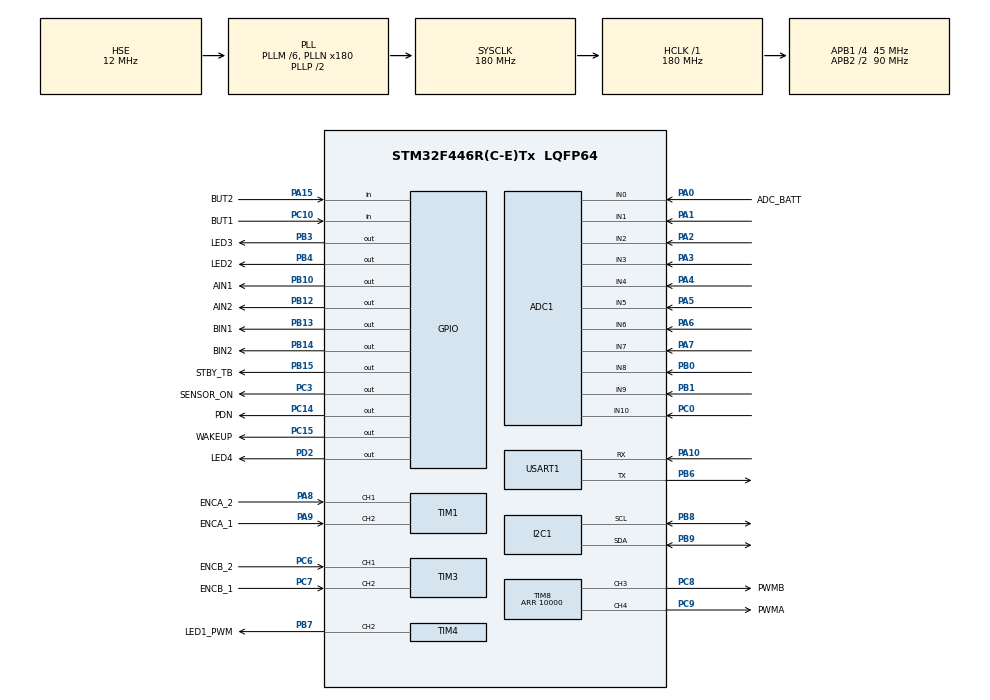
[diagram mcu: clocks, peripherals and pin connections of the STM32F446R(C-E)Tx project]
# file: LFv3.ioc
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ADC1.Channel-0\#ChannelRegularConversion=ADC_CHANNEL_0
ADC1.Channel-1\#ChannelRegularConversion=ADC_CHANNEL_1
ADC1.Channel-10\#ChannelRegularConversion=ADC_CHANNEL_10
ADC1.Channel-2\#ChannelRegularConversion=ADC_CHANNEL_2
ADC1.Channel-3\#ChannelRegularConversion=ADC_CHANNEL_3
ADC1.Channel-4\#ChannelRegularConversion=ADC_CHANNEL_4
ADC1.Channel-5\#ChannelRegularConversion=ADC_CHANNEL_5
ADC1.Channel-6\#ChannelRegularConversion=ADC_CHANNEL_6
ADC1.Channel-7\#ChannelRegularConversion=ADC_CHANNEL_7
ADC1.Channel-8\#ChannelRegularConversion=ADC_CHANNEL_8
ADC1.Channel-9\#ChannelRegularConversion=ADC_CHANNEL_9
ADC1.ContinuousConvMode=ENABLE
ADC1.DMAContinuousRequests=ENABLE
ADC1.EOCSelection=ADC_EOC_SEQ_CONV
ADC1.NbrOfConversion=11
ADC1.NbrOfConversionFlag=1
ADC1.Rank-0\#ChannelRegularConversion=1
ADC1.Rank-1\#ChannelRegularConversion=2
ADC1.Rank-10\#ChannelRegularConversion=11
ADC1.Rank-2\#ChannelRegularConversion=3
ADC1.Rank-3\#ChannelRegularConversion=4
ADC1.Rank-4\#ChannelRegularConversion=5
ADC1.Rank-5\#ChannelRegularConversion=6
ADC1.Rank-6\#ChannelRegularConversion=7
ADC1.Rank-7\#ChannelRegularConversion=8
ADC1.Rank-8\#ChannelRegularConversion=9
ADC1.Rank-9\#ChannelRegularConversion=10
ADC1.SamplingTime-0\#ChannelRegularConversion=ADC_SAMPLETIME_112CYCLES
ADC1.SamplingTime-1\#ChannelRegularConversion=ADC_SAMPLETIME_112CYCLES
ADC1.SamplingTime-10\#ChannelRegularConversion=ADC_SAMPLETIME_112CYCLES
ADC1.SamplingTime-2\#ChannelRegularConversion=ADC_SAMPLETIME_112CYCLES
ADC1.SamplingTime-3\#ChannelRegularConversion=ADC_SAMPLETIME_112CYCLES
ADC1.SamplingTime-4\#ChannelRegularConversion=ADC_SAMPLETIME_112CYCLES
ADC1.SamplingTime-5\#ChannelRegularConversion=ADC_SAMPLETIME_112CYCLES
ADC1.SamplingTime-6\#ChannelRegularConversion=ADC_SAMPLETIME_112CYCLES
ADC1.SamplingTime-7\#ChannelRegularConversion=ADC_SAMPLETIME_112CYCLES
ADC1.SamplingTime-8\#ChannelRegularConversion=ADC_SAMPLETIME_112CYCLES
ADC1.SamplingTime-9\#ChannelRegularConversion=ADC_SAMPLETIME_112CYCLES
ADC1.master=1
Dma.ADC1.0.Direction=DMA_PERIPH_TO_MEMORY
Dma.ADC1.0.FIFOMode=DMA_FIFOMODE_DISABLE
Dma.ADC1.0.Instance=DMA2_Stream0
Dma.ADC1.0.MemDataAlignment=DMA_MDATAALIGN_HALFWORD
Dma.ADC1.0.MemInc=DMA_MINC_ENABLE
Dma.ADC1.0.Mode=DMA_CIRCULAR
Dma.ADC1.0.PeriphDataAlignment=DMA_PDATAALIGN_HALFWORD
Dma.ADC1.0.PeriphInc=DMA_PINC_DISABLE
Dma.ADC1.0.Priority=DMA_PRIORITY_LOW
Dma.Request0=ADC1
I2C1.I2C_Mode=I2C_Fast
Mcu.Family=STM32F4
Mcu.Name=STM32F446R(C-E)Tx
Mcu.Package=LQFP64
NVIC.DMA2_Stream0_IRQn=true\:2\:0\:true\:false\:true\:false\:true\:true
NVIC.PriorityGroup=NVIC_PRIORITYGROUP_4
NVIC.TIM7_IRQn=true\:1\:0\:true\:false\:true\:true\:true\:true
NVIC.TIM8_UP_TIM13_IRQn=true\:0\:0\:false\:false\:true\:true\:true\:true
NVIC.USART1_IRQn=true\:0\:0\:true\:false\:true\:true\:true\:true
PA0-WKUP.GPIO_Label=ADC_BATT
PA0-WKUP.Signal=ADCx_IN0
PA1.Signal=ADCx_IN1
PA10.Mode=Asynchronous
PA10.Signal=USART1_RX
PA13.Mode=Serial_Wire
PA13.Signal=SYS_JTMS-SWDIO
PA14.Mode=Serial_Wire
PA14.Signal=SYS_JTCK-SWCLK
PA15.GPIO_Label=BUT2
PA15.GPIO_PuPd=GPIO_PULLDOWN
PA15.Signal=GPIO_Input
PA2.Signal=ADCx_IN2
PA3.Signal=ADCx_IN3
PA4.Signal=ADCx_IN4
PA5.Signal=ADCx_IN5
PA6.Signal=ADCx_IN6
PA7.Signal=ADCx_IN7
PA8.GPIO_Label=ENCA_2
PA8.Signal=S_TIM1_CH1
PA9.GPIO_Label=ENCA_1
PA9.Signal=S_TIM1_CH2
PB0.Signal=ADCx_IN8
PB1.Signal=ADCx_IN9
PB10.GPIO_Label=AIN1
PB10.Signal=GPIO_Output
PB12.GPIO_Label=AIN2
PB12.Signal=GPIO_Output
PB13.GPIO_Label=BIN1
PB13.Signal=GPIO_Output
PB14.GPIO_Label=BIN2
PB14.Signal=GPIO_Output
PB15.GPIO_Label=STBY_TB
PB15.Signal=GPIO_Output
PB3.GPIO_Label=LED3
PB3.Signal=GPIO_Output
PB4.GPIO_Label=LED2
PB4.Signal=GPIO_Output
PB6.Mode=Asynchronous
PB6.Signal=USART1_TX
PB7.GPIO_Label=LED1_PWM
PB7.Signal=S_TIM4_CH2
PB8.Mode=I2C
PB8.Signal=I2C1_SCL
PB9.Mode=I2C
PB9.Signal=I2C1_SDA
PC0.Signal=ADCx_IN10
PC10.GPIO_Label=BUT1
PC10.GPIO_PuPd=GPIO_PULLDOWN
PC10.Signal=GPIO_Input
PC14-OSC32_IN.GPIO_Label=PDN
PC14-OSC32_IN.Signal=GPIO_Output
PC15-OSC32_OUT.GPIO_Label=WAKEUP
PC15-OSC32_OUT.Signal=GPIO_Output
PC3.GPIO_Label=SENSOR_ON
PC3.Signal=GPIO_Output
PC6.GPIO_Label=ENCB_2
PC6.Signal=S_TIM3_CH1
PC7.GPIO_Label=ENCB_1
PC7.Signal=S_TIM3_CH2
PC8.GPIO_Label=PWMB
PC8.Signal=S_TIM8_CH3
PC9.GPIO_Label=PWMA
PC9.Signal=S_TIM8_CH4
PD2.GPIO_Label=LED4
PD2.Signal=GPIO_Output
PH0-OSC_IN.Mode=HSE-External-Oscillator
PH0-OSC_IN.Signal=RCC_OSC_IN
PH1-OSC_OUT.Mode=HSE-External-Oscillator
PH1-OSC_OUT.Signal=RCC_OSC_OUT
ProjectManager.HeapSize=0x200
ProjectManager.StackSize=0x400
ProjectManager.TargetToolchain=Makefile
RCC.AHBFreq_Value=180000000
RCC.APB1CLKDivider=RCC_HCLK_DIV4
RCC.APB1Freq_Value=45000000
RCC.APB1TimFreq_Value=90000000
RCC.APB2CLKDivider=RCC_HCLK_DIV2
RCC.APB2Freq_Value=90000000
RCC.APB2TimFreq_Value=180000000
RCC.CortexFreq_Value=180000000
RCC.HCLKFreq_Value=180000000
RCC.HSE_VALUE=12000000
RCC.PLLM=6
RCC.PLLN=180
RCC.PLLQ=7
RCC.PLLSourceVirtual=RCC_PLLSOURCE_HSE
RCC.SYSCLKFreq_VALUE=180000000
RCC.SYSCLKSource=RCC_SYSCLKSOURCE_PLLCLK
RCC.USBFreq_Value=51428571.428571425
RCC.VCOOutputFreq_Value=360000000
SH.ADCx_IN0.0=ADC1_IN0,IN0
SH.ADCx_IN1.0=ADC1_IN1,IN1
SH.ADCx_IN10.0=ADC1_IN10,IN10
SH.ADCx_IN2.0=ADC1_IN2,IN2
SH.ADCx_IN3.0=ADC1_IN3,IN3
SH.ADCx_IN4.0=ADC1_IN4,IN4
SH.ADCx_IN5.0=ADC1_IN5,IN5
SH.ADCx_IN6.0=ADC1_IN6,IN6
SH.ADCx_IN7.0=ADC1_IN7,IN7
SH.ADCx_IN8.0=ADC1_IN8,IN8
SH.ADCx_IN9.0=ADC1_IN9,IN9
SH.S_TIM1_CH1.0=TIM1_CH1,Encoder_Interface
SH.S_TIM1_CH2.0=TIM1_CH2,Encoder_Interface
SH.S_TIM3_CH1.0=TIM3_CH1,Encoder_Interface
SH.S_TIM3_CH2.0=TIM3_CH2,Encoder_Interface
SH.S_TIM4_CH2.0=TIM4_CH2,PWM Generation2 CH2
SH.S_TIM8_CH3.0=TIM8_CH3,PWM Generation3 CH3
SH.S_TIM8_CH4.0=TIM8_CH4,PWM Generation4 CH4
TIM1.EncoderMode=TIM_ENCODERMODE_TI12
TIM13.Period=1000
TIM13.Prescaler=45
TIM3.EncoderMode=TIM_ENCODERMODE_TI12
TIM4.Channel-PWM\ Generation2\ CH2=TIM_CHANNEL_2
TIM7.Period=200
TIM7.Prescaler=900-1
TIM8.Channel-PWM\ Generation3\ CH3=TIM_CHANNEL_3
TIM8.Channel-PWM\ Generation4\ CH4=TIM_CHANNEL_4
TIM8.Period=10000
USART1.VirtualMode=VM_ASYNC
VP_TIM13_VS_ClockSourceINT.Mode=Enable_Timer
VP_TIM7_VS_ClockSourceINT.Mode=Enable_Timer
VP_TIM8_VS_ClockSourceINT.Mode=Internal
board=custom

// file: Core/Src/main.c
/* USER CODE BEGIN Header */
/**
  ******************************************************************************
  * @file           : main.c
  * @brief          : Main program body
  ******************************************************************************
  * @attention
  *
  * Copyright (c) 2023 STMicroelectronics.
  * All rights reserved.
  *
  * This software is licensed under terms that can be found in the LICENSE file
  * in the root directory of this software component.
  * If no LICENSE file comes with this software, it is provided AS-IS.
  *
  ******************************************************************************
  */
/* USER CODE END Header */
#include "main.h"

/* USER CODE BEGIN Includes */
#include "memory.h"
#include <stdio.h>
#include "MPU6050.h"
#include "battery.h"
#include "line_sensors.h"
#include "IMU.h"
#include "motors.h"
#include "uart_handler.h"
#include "line_sensors.h"
#include "state_machine_ctrl.h"
#include "lf_control.h"
#include "data_loging.h"
/* USER CODE END Includes */

/* USER CODE BEGIN PD */
#define OPERATION_MODE_NORMAL 0
#define OPERATION_MODE_TEST_STRAIGHT 1
#define OPERATION_MODE_TEST_SPIN 2
#define OPERATION_MODE_TEST_MOTORS 3

#define CONTROL_MODE_PID_LOG_DATA 0
#define CONTROL_MODE_NEURAL_NETWORK 1
#define CONTROL_MODE_NO_CONTROL 2

#define CONTROL_MODE CONTROL_MODE_NEURAL_NETWORK
#define OPERATION_MODE OPERATION_MODE_TEST_MOTORS

#define DISABLE_MAIN_WHILE 0

/* USER CODE END PD */

ADC_HandleTypeDef hadc1;
DMA_HandleTypeDef hdma_adc1;

I2C_HandleTypeDef hi2c1;

TIM_HandleTypeDef htim1;
TIM_HandleTypeDef htim3;
TIM_HandleTypeDef htim4;
TIM_HandleTypeDef htim7;
TIM_HandleTypeDef htim8;
TIM_HandleTypeDef htim13;

UART_HandleTypeDef huart1;

/* USER CODE BEGIN PV */
uint32_t adc_reading= 1000;
uint16_t adc_readings[11];
float adc_reading_float;
uint8_t i2c_reading;
extern uint8_t recieve;
extern uint8_t sensors_enable;
extern int velocity_left_int;
extern int velocity_right_int;
extern int desired_left_velocity;
extern int desired_right_velocity;
extern uint8_t black_detection_table[];
extern float sensors_normalized[];
char uart_buffer[100];
extern RobotMode robot_state;
extern uint8_t robot_auto_follow;
float est_angle = 0;
int enable_main_printing = 0;
LogData log_data;
extern float gyro_calib[3];

#if OPERATION_MODE==OPERATION_MODE_TEST_STRAIGHT || OPERATION_MODE==OPERATION_MODE_TEST_SPIN
  uint16_t test_buffer_left[1000];
  uint16_t test_buffer_right[1000];
  uint8_t enable_data_colllection = 0;
  uint8_t send_data = 0;
#endif
/* USER CODE END PV */

void SystemClock_Config(void);
static void MX_GPIO_Init(void);
static void MX_DMA_Init(void);
static void MX_ADC1_Init(void);
static void MX_TIM1_Init(void);
static void MX_TIM3_Init(void);
static void MX_TIM8_Init(void);
static void MX_USART1_UART_Init(void);
static void MX_I2C1_Init(void);
static void MX_TIM4_Init(void);
static void MX_TIM7_Init(void);
static void MX_TIM13_Init(void);

/* USER CODE BEGIN 0 */

void HAL_TIM_PeriodElapsedCallback(TIM_HandleTypeDef *htim){
  static uint16_t tim13_div_cnt = 0;
  static float x[3];
  static float y[6];
  #if OPERATION_MODE == OPERATION_MODE_TEST_STRAIGHT
  static uint32_t go_straight_test_counter = 0;
  #endif
  #if OPERATION_MODE == OPERATION_MODE_TEST_SPIN
  static uint32_t go_spin_test_counter = 0;
  #endif
  if(htim == &htim7){
    //UpdateIMU();

  }
  else if(htim == &htim13){
    #if OPERATION_MODE == OPERATION_MODE_NORMAL
      VelocityEstimation();
      #if CONTROL_MODE == CONTROL_MODE_PID_LOG_DATA
        LeftMotorPID();
        RightMotorPID();
      #endif
        normalize_sensors();

      if(robot_auto_follow){
        #if CONTROL_MODE == CONTROL_MODE_PID_LOG_DATA
          est_angle = -NN_est_angle(sensors_normalized);
          PIDLineControl();
        #elif CONTROL_MODE == CONTROL_MODE_NEURAL_NETWORK
          est_angle = -NN_est_angle(sensors_normalized);
          x[0] = (float)est_angle;
          x[1] = (float)velocity_left_int;
          x[2] = (float)velocity_right_int;
          NeuralNetworkControl(x,y);
          SetLeftMotorPWM(y[1]);
          SetRightMotorPWM(y[0]);
        #endif
      }
      tim13_div_cnt +=1;
      updateLogData(&log_data);
    #elif OPERATION_MODE == OPERATION_MODE_TEST_STRAIGHT

      if(go_straight_test_counter == 1){
       /*start PWM*/
        SetRightMotorPWM(5000);
        SetLeftMotorPWM(5000);
      }
      else if (go_straight_test_counter == 1000)
      {
        /*stop PWM*/
        SetRightMotorPWM(0);
        SetLeftMotorPWM(0);
        send_data = 1;
      }
      if(go_straight_test_counter < 1000){
        test_buffer_left[go_straight_test_counter] = ENCODER_LEFT;
        test_buffer_right[go_straight_test_counter] = ENCODER_RIGHT;
      }
    go_straight_test_counter +=1;
    AdaptiveVelocityEstimation();
    #elif OPERATION_MODE == OPERATION_MODE_TEST_SPIN

      if(go_spin_test_counter == 1){
       /*start PWM*/
        SetRightMotorPWM(-5000);
        SetLeftMotorPWM(-5000);
      }
      else if (go_spin_test_counter == 1000)
      {
        /*stop PWM*/
        SetRightMotorPWM(0);
        SetLeftMotorPWM(0);
        send_data = 1;
      }
      if(go_spin_test_counter < 1000){
        test_buffer_left[go_spin_test_counter] = ENCODER_LEFT;
        test_buffer_right[go_spin_test_counter] = ENCODER_RIGHT;
      }
      go_spin_test_counter +=1;
      AdaptiveVelocityEstimation();
    #elif OPERATION_MODE == OPERATION_MODE_TEST_MOTORS
      VelocityEstimation();
    #endif
  }
}

/* USER CODE END 0 */

int main(void)
{

  /* MCU Configuration--------------------------------------------------------*/

  /* Reset of all peripherals, Initializes the Flash interface and the Systick. */
  HAL_Init();

  /* Configure the system clock */
  SystemClock_Config();

  /* Initialize all configured peripherals */
  MX_GPIO_Init();
  MX_DMA_Init();
  MX_ADC1_Init();
  MX_TIM1_Init();
  MX_TIM3_Init();
  MX_TIM8_Init();
  MX_USART1_UART_Init();
  MX_I2C1_Init();
  MX_TIM4_Init();
  MX_TIM7_Init();
  MX_TIM13_Init();
  /* USER CODE BEGIN 2 */
  HAL_TIM_PWM_Start(&htim8, TIM_CHANNEL_3);
  HAL_TIM_PWM_Start(&htim8, TIM_CHANNEL_4);
  HAL_TIM_PWM_Start(&htim4, TIM_CHANNEL_2);
  HAL_TIM_Encoder_Start(&htim3,TIM_CHANNEL_ALL);
  HAL_TIM_Encoder_Start(&htim1,TIM_CHANNEL_ALL);
  HAL_ADC_Start_DMA(&hadc1, adc_readings, 11);
  /* USER CODE END 2 */

  /* Infinite loop */
  /* USER CODE BEGIN WHILE */

  HAL_GPIO_WritePin(PDN_GPIO_Port, PDN_Pin, GPIO_PIN_SET);
  HAL_GPIO_WritePin(WAKEUP_GPIO_Port, WAKEUP_Pin, GPIO_PIN_SET);

  HAL_GPIO_WritePin(STBY_TB_GPIO_Port, STBY_TB_Pin, GPIO_PIN_SET);
  HAL_GPIO_WritePin(LED3_GPIO_Port, LED3_Pin, 1);
  log_data.end = 0xDEAD;
  uint8_t read_data;
  uint8_t reading;
  uint8_t uart_buffer[100];
  MPU6050_SETTINGS MPU6050_sett;
  MPU6050_default_setting(&MPU6050_sett);
  MPU6050_sett.ACC_RANGE = MPU6050_ACC_2G;
  MPU6050_sett.GYRO_RANGE = MPU6050_GYRO_1000DPS;
  MPU6050_sett.DLPF = MPU6050_DLPF_5;

  InitEncoders();
  HAL_Delay(30);
  MPU6050_wakeup();
  HAL_Delay(5);
  MPU6050_set_config(&MPU6050_sett);
  HAL_Delay(1);
  update_counter();
  HAL_UART_Receive_IT(&huart1, &recieve, 1);
  TURN_ON_SENSORS();
  HAL_Delay(2000);
  calibrate_gyro();
  HAL_Delay(200);
  HAL_TIM_Base_Start_IT(&htim7);
  /*
    htim13 is controlling test and main control algorithms
  */
  HAL_TIM_Base_Start_IT(&htim13);
  ManageRobotStateMachine(0, 0);
  int disable_counter = 0;
  char dsfsk[3] = "ABC";
  uint8_t uart_debug_buffer[30];
  init_sensors();
  int gyro_r_data[3];
  float gyro_data[3];
  int acc_r_data[3];
  float acc_data[3];
  float est_angle_gyro = 0;
  // desired_left_velocity = 1200;
  // desired_right_velocity = 1200;
  /* USER CODE END 2 */
  /* Infinite loop */
  /* USER CODE BEGIN WHILE */
  while (1)
  {
    #if DISABLE_MAIN_WHILE==0
    HAL_Delay(5);
    battery_monitor();
    if(HAL_GPIO_ReadPin(BUT1_GPIO_Port, BUT1_Pin) && !robot_auto_follow){
      HAL_Delay(500);
      robot_auto_follow = 1;
    }
    if(robot_auto_follow == 1 && (disable_counter > 50000)){
      robot_auto_follow = 0;
      desired_left_velocity = 0;
      desired_right_velocity = 0;
      disable_counter = 0;
    }
    else if(robot_auto_follow == 1){
      disable_counter += 1;
      #if CONTROL_MODE == CONTROL_MODE_PID_LOG_DATA
        HAL_UART_Transmit_IT(&huart1, (uint8_t *)&log_data, 12);
      #endif
    }

    #if CONTROL_MODE == CONTROL_MODE_NO_CONTROL
      int l = sprintf(uart_debug_buffer, "%d %d\n", velocity_left_int, velocity_right_int);
      HAL_UART_Transmit_IT(&huart1, uart_debug_buffer, l);
    #endif
    #if OPERATION_MODE == OPERATION_MODE_TEST_STRAIGHT || OPERATION_MODE == OPERATION_MODE_TEST_SPIN
      if(send_data == 1){
        for(int i =0;i<1000;i++){
          int l = sprintf(uart_buffer, "%d %d\n",test_buffer_left[i], test_buffer_right[i]);
          HAL_UART_Transmit(&huart1, uart_buffer, l, 100);
        }
        send_data = 0;
      }
    #endif
    #else
      if(HAL_GPIO_ReadPin(BUT2_GPIO_Port, BUT2_Pin)){
        HAL_Delay(20);
        UpdateIMU();
        est_angle_gyro += gyro_calib[2] * 0.02f *180.f * 75.f;
        normalize_sensors();
        est_angle = NN_est_angle(sensors_normalized);
        //int l = sprintf(uart_buffer, "%d %d %d %d %d %d %d %d %d %d %d\n", (int)(sensors_normalized[0]*1000), (int)(sensors_normalized[1]*1000),(int)(sensors_normalized[2]*1000),(int)(sensors_normalized[3]*1000),(int)(sensors_normalized[4]*1000),(int)(sensors_normalized[5]*1000),(int)(sensors_normalized[6]*1000),(int)(sensors_normalized[7]*1000),(int)(sensors_normalized[8]*1000),(int)(sensors_normalized[9]*1000), (int)est_angle_gyro*10);
        int l = sprintf(uart_buffer, "%d\n",(int)est_angle);
        HAL_UART_Transmit(&huart1, uart_buffer, l, 100);
      }
    #endif
    #if OPERATION_MODE == OPERATION_MODE_TEST_MOTORS
        int lmotor_pwm = 10000;
        int rmotor_pwm = 10000;
        SetLeftMotorPWM(lmotor_pwm);
        SetRightMotorPWM(rmotor_pwm);
        #define TEST_IT 200
        for(int j = 0; j < TEST_IT;j++){
          lmotor_pwm -= 10000/TEST_IT;
          rmotor_pwm -= 10000/TEST_IT;
          SetLeftMotorPWM(lmotor_pwm);
          SetRightMotorPWM(rmotor_pwm);
          for(int i =0; i <10; i++){
            int l = sprintf(uart_buffer, "%d %d %d\n",(int)velocity_left_int, (int)velocity_right_int, (int)lmotor_pwm);
            HAL_UART_Transmit(&huart1, uart_buffer, l, 100);
            HAL_Delay(20);
            }
          }

    #endif
    /* USER CODE END WHILE */

  }
}

void SystemClock_Config(void)
{
  RCC_OscInitTypeDef RCC_OscInitStruct = {0};
  RCC_ClkInitTypeDef RCC_ClkInitStruct = {0};

  /** Configure the main internal regulator output voltage
  */
  __HAL_RCC_PWR_CLK_ENABLE();
  __HAL_PWR_VOLTAGESCALING_CONFIG(PWR_REGULATOR_VOLTAGE_SCALE1);

  /** Initializes the RCC Oscillators according to the specified parameters
  * in the RCC_OscInitTypeDef structure.
  */
  RCC_OscInitStruct.OscillatorType = RCC_OSCILLATORTYPE_HSE;
  RCC_OscInitStruct.HSEState = RCC_HSE_ON;
  RCC_OscInitStruct.PLL.PLLState = RCC_PLL_ON;
  RCC_OscInitStruct.PLL.PLLSource = RCC_PLLSOURCE_HSE;
  RCC_OscInitStruct.PLL.PLLM = 6;
  RCC_OscInitStruct.PLL.PLLN = 180;
  RCC_OscInitStruct.PLL.PLLP = RCC_PLLP_DIV2;
  RCC_OscInitStruct.PLL.PLLQ = 7;
  RCC_OscInitStruct.PLL.PLLR = 2;
  if (HAL_RCC_OscConfig(&RCC_OscInitStruct) != HAL_OK)
  {
    Error_Handler();
  }

  /** Activate the Over-Drive mode
  */
  if (HAL_PWREx_EnableOverDrive() != HAL_OK)
  {
    Error_Handler();
  }

  /** Initializes the CPU, AHB and APB buses clocks
  */
  RCC_ClkInitStruct.ClockType = RCC_CLOCKTYPE_HCLK|RCC_CLOCKTYPE_SYSCLK
                              |RCC_CLOCKTYPE_PCLK1|RCC_CLOCKTYPE_PCLK2;
  RCC_ClkInitStruct.SYSCLKSource = RCC_SYSCLKSOURCE_PLLCLK;
  RCC_ClkInitStruct.AHBCLKDivider = RCC_SYSCLK_DIV1;
  RCC_ClkInitStruct.APB1CLKDivider = RCC_HCLK_DIV4;
  RCC_ClkInitStruct.APB2CLKDivider = RCC_HCLK_DIV2;

  if (HAL_RCC_ClockConfig(&RCC_ClkInitStruct, FLASH_LATENCY_5) != HAL_OK)
  {
    Error_Handler();
  }
}

static void MX_ADC1_Init(void)
{

  ADC_ChannelConfTypeDef sConfig = {0};

  /** Configure the global features of the ADC (Clock, Resolution, Data Alignment and number of conversion)
  */
  hadc1.Instance = ADC1;
  hadc1.Init.ClockPrescaler = ADC_CLOCK_SYNC_PCLK_DIV4;
  hadc1.Init.Resolution = ADC_RESOLUTION_12B;
  hadc1.Init.ScanConvMode = ENABLE;
  hadc1.Init.ContinuousConvMode = ENABLE;
  hadc1.Init.DiscontinuousConvMode = DISABLE;
  hadc1.Init.ExternalTrigConvEdge = ADC_EXTERNALTRIGCONVEDGE_NONE;
  hadc1.Init.ExternalTrigConv = ADC_SOFTWARE_START;
  hadc1.Init.DataAlign = ADC_DATAALIGN_RIGHT;
  hadc1.Init.NbrOfConversion = 11;
  hadc1.Init.DMAContinuousRequests = ENABLE;
  hadc1.Init.EOCSelection = ADC_EOC_SEQ_CONV;
  if (HAL_ADC_Init(&hadc1) != HAL_OK)
  {
    Error_Handler();
  }

  /** Configure for the selected ADC regular channel its corresponding rank in the sequencer and its sample time.
  */
  sConfig.Channel = ADC_CHANNEL_0;
  sConfig.Rank = 1;
  sConfig.SamplingTime = ADC_SAMPLETIME_112CYCLES;
  if (HAL_ADC_ConfigChannel(&hadc1, &sConfig) != HAL_OK)
  {
    Error_Handler();
  }

  /** Configure for the selected ADC regular channel its corresponding rank in the sequencer and its sample time.
  */
  sConfig.Channel = ADC_CHANNEL_1;
  sConfig.Rank = 2;
  if (HAL_ADC_ConfigChannel(&hadc1, &sConfig) != HAL_OK)
  {
    Error_Handler();
  }

  /** Configure for the selected ADC regular channel its corresponding rank in the sequencer and its sample time.
  */
  sConfig.Channel = ADC_CHANNEL_2;
  sConfig.Rank = 3;
  if (HAL_ADC_ConfigChannel(&hadc1, &sConfig) != HAL_OK)
  {
    Error_Handler();
  }

  /** Configure for the selected ADC regular channel its corresponding rank in the sequencer and its sample time.
  */
  sConfig.Channel = ADC_CHANNEL_3;
  sConfig.Rank = 4;
  if (HAL_ADC_ConfigChannel(&hadc1, &sConfig) != HAL_OK)
  {
    Error_Handler();
  }

  /** Configure for the selected ADC regular channel its corresponding rank in the sequencer and its sample time.
  */
  sConfig.Channel = ADC_CHANNEL_4;
  sConfig.Rank = 5;
  if (HAL_ADC_ConfigChannel(&hadc1, &sConfig) != HAL_OK)
  {
    Error_Handler();
  }

  /** Configure for the selected ADC regular channel its corresponding rank in the sequencer and its sample time.
  */
  sConfig.Channel = ADC_CHANNEL_5;
  sConfig.Rank = 6;
  if (HAL_ADC_ConfigChannel(&hadc1, &sConfig) != HAL_OK)
  {
    Error_Handler();
  }

  /** Configure for the selected ADC regular channel its corresponding rank in the sequencer and its sample time.
  */
  sConfig.Channel = ADC_CHANNEL_6;
  sConfig.Rank = 7;
  if (HAL_ADC_ConfigChannel(&hadc1, &sConfig) != HAL_OK)
  {
    Error_Handler();
  }

  /** Configure for the selected ADC regular channel its corresponding rank in the sequencer and its sample time.
  */
  sConfig.Channel = ADC_CHANNEL_7;
  sConfig.Rank = 8;
  if (HAL_ADC_ConfigChannel(&hadc1, &sConfig) != HAL_OK)
  {
    Error_Handler();
  }

  /** Configure for the selected ADC regular channel its corresponding rank in the sequencer and its sample time.
  */
  sConfig.Channel = ADC_CHANNEL_8;
  sConfig.Rank = 9;
  if (HAL_ADC_ConfigChannel(&hadc1, &sConfig) != HAL_OK)
  {
    Error_Handler();
  }

  /** Configure for the selected ADC regular channel its corresponding rank in the sequencer and its sample time.
  */
  sConfig.Channel = ADC_CHANNEL_9;
  sConfig.Rank = 10;
  if (HAL_ADC_ConfigChannel(&hadc1, &sConfig) != HAL_OK)
  {
    Error_Handler();
  }

  /** Configure for the selected ADC regular channel its corresponding rank in the sequencer and its sample time.
  */
  sConfig.Channel = ADC_CHANNEL_10;
  sConfig.Rank = 11;
  if (HAL_ADC_ConfigChannel(&hadc1, &sConfig) != HAL_OK)
  {
    Error_Handler();
  }

}

static void MX_I2C1_Init(void)
{

  hi2c1.Instance = I2C1;
  hi2c1.Init.ClockSpeed = 400000;
  hi2c1.Init.DutyCycle = I2C_DUTYCYCLE_2;
  hi2c1.Init.OwnAddress1 = 0;
  hi2c1.Init.AddressingMode = I2C_ADDRESSINGMODE_7BIT;
  hi2c1.Init.DualAddressMode = I2C_DUALADDRESS_DISABLE;
  hi2c1.Init.OwnAddress2 = 0;
  hi2c1.Init.GeneralCallMode = I2C_GENERALCALL_DISABLE;
  hi2c1.Init.NoStretchMode = I2C_NOSTRETCH_DISABLE;
  if (HAL_I2C_Init(&hi2c1) != HAL_OK)
  {
    Error_Handler();
  }

}

static void MX_TIM1_Init(void)
{

  TIM_Encoder_InitTypeDef sConfig = {0};
  TIM_MasterConfigTypeDef sMasterConfig = {0};

  htim1.Instance = TIM1;
  htim1.Init.Prescaler = 0;
  htim1.Init.CounterMode = TIM_COUNTERMODE_UP;
  htim1.Init.Period = 65535;
  htim1.Init.ClockDivision = TIM_CLOCKDIVISION_DIV1;
  htim1.Init.RepetitionCounter = 0;
  htim1.Init.AutoReloadPreload = TIM_AUTORELOAD_PRELOAD_DISABLE;
  sConfig.EncoderMode = TIM_ENCODERMODE_TI12;
  sConfig.IC1Polarity = TIM_ICPOLARITY_RISING;
  sConfig.IC1Selection = TIM_ICSELECTION_DIRECTTI;
  sConfig.IC1Prescaler = TIM_ICPSC_DIV1;
  sConfig.IC1Filter = 0;
  sConfig.IC2Polarity = TIM_ICPOLARITY_RISING;
  sConfig.IC2Selection = TIM_ICSELECTION_DIRECTTI;
  sConfig.IC2Prescaler = TIM_ICPSC_DIV1;
  sConfig.IC2Filter = 0;
  if (HAL_TIM_Encoder_Init(&htim1, &sConfig) != HAL_OK)
  {
    Error_Handler();
  }
  sMasterConfig.MasterOutputTrigger = TIM_TRGO_RESET;
  sMasterConfig.MasterSlaveMode = TIM_MASTERSLAVEMODE_DISABLE;
  if (HAL_TIMEx_MasterConfigSynchronization(&htim1, &sMasterConfig) != HAL_OK)
  {
    Error_Handler();
  }

}

static void MX_TIM3_Init(void)
{

  TIM_Encoder_InitTypeDef sConfig = {0};
  TIM_MasterConfigTypeDef sMasterConfig = {0};

  htim3.Instance = TIM3;
  htim3.Init.Prescaler = 0;
  htim3.Init.CounterMode = TIM_COUNTERMODE_UP;
  htim3.Init.Period = 65535;
  htim3.Init.ClockDivision = TIM_CLOCKDIVISION_DIV1;
  htim3.Init.AutoReloadPreload = TIM_AUTORELOAD_PRELOAD_DISABLE;
  sConfig.EncoderMode = TIM_ENCODERMODE_TI12;
  sConfig.IC1Polarity = TIM_ICPOLARITY_RISING;
  sConfig.IC1Selection = TIM_ICSELECTION_DIRECTTI;
  sConfig.IC1Prescaler = TIM_ICPSC_DIV1;
  sConfig.IC1Filter = 0;
  sConfig.IC2Polarity = TIM_ICPOLARITY_RISING;
  sConfig.IC2Selection = TIM_ICSELECTION_DIRECTTI;
  sConfig.IC2Prescaler = TIM_ICPSC_DIV1;
  sConfig.IC2Filter = 0;
  if (HAL_TIM_Encoder_Init(&htim3, &sConfig) != HAL_OK)
  {
    Error_Handler();
  }
  sMasterConfig.MasterOutputTrigger = TIM_TRGO_RESET;
  sMasterConfig.MasterSlaveMode = TIM_MASTERSLAVEMODE_DISABLE;
  if (HAL_TIMEx_MasterConfigSynchronization(&htim3, &sMasterConfig) != HAL_OK)
  {
    Error_Handler();
  }

}

static void MX_TIM4_Init(void)
{

  TIM_MasterConfigTypeDef sMasterConfig = {0};
  TIM_OC_InitTypeDef sConfigOC = {0};

  htim4.Instance = TIM4;
  htim4.Init.Prescaler = 0;
  htim4.Init.CounterMode = TIM_COUNTERMODE_UP;
  htim4.Init.Period = 65535;
  htim4.Init.ClockDivision = TIM_CLOCKDIVISION_DIV1;
  htim4.Init.AutoReloadPreload = TIM_AUTORELOAD_PRELOAD_DISABLE;
  if (HAL_TIM_PWM_Init(&htim4) != HAL_OK)
  {
    Error_Handler();
  }
  sMasterConfig.MasterOutputTrigger = TIM_TRGO_RESET;
  sMasterConfig.MasterSlaveMode = TIM_MASTERSLAVEMODE_DISABLE;
  if (HAL_TIMEx_MasterConfigSynchronization(&htim4, &sMasterConfig) != HAL_OK)
  {
    Error_Handler();
  }
  sConfigOC.OCMode = TIM_OCMODE_PWM1;
  sConfigOC.Pulse = 0;
  sConfigOC.OCPolarity = TIM_OCPOLARITY_HIGH;
  sConfigOC.OCFastMode = TIM_OCFAST_DISABLE;
  if (HAL_TIM_PWM_ConfigChannel(&htim4, &sConfigOC, TIM_CHANNEL_2) != HAL_OK)
  {
    Error_Handler();
  }
  HAL_TIM_MspPostInit(&htim4);

}

static void MX_TIM7_Init(void)
{

  TIM_MasterConfigTypeDef sMasterConfig = {0};

  htim7.Instance = TIM7;
  htim7.Init.Prescaler = 900-1;
  htim7.Init.CounterMode = TIM_COUNTERMODE_UP;
  htim7.Init.Period = 200;
  htim7.Init.AutoReloadPreload = TIM_AUTORELOAD_PRELOAD_DISABLE;
  if (HAL_TIM_Base_Init(&htim7) != HAL_OK)
  {
    Error_Handler();
  }
  sMasterConfig.MasterOutputTrigger = TIM_TRGO_RESET;
  sMasterConfig.MasterSlaveMode = TIM_MASTERSLAVEMODE_DISABLE;
  if (HAL_TIMEx_MasterConfigSynchronization(&htim7, &sMasterConfig) != HAL_OK)
  {
    Error_Handler();
  }

}

static void MX_TIM8_Init(void)
{

  TIM_ClockConfigTypeDef sClockSourceConfig = {0};
  TIM_MasterConfigTypeDef sMasterConfig = {0};
  TIM_OC_InitTypeDef sConfigOC = {0};
  TIM_BreakDeadTimeConfigTypeDef sBreakDeadTimeConfig = {0};

  htim8.Instance = TIM8;
  htim8.Init.Prescaler = 0;
  htim8.Init.CounterMode = TIM_COUNTERMODE_UP;
  htim8.Init.Period = 10000;
  htim8.Init.ClockDivision = TIM_CLOCKDIVISION_DIV1;
  htim8.Init.RepetitionCounter = 0;
  htim8.Init.AutoReloadPreload = TIM_AUTORELOAD_PRELOAD_DISABLE;
  if (HAL_TIM_Base_Init(&htim8) != HAL_OK)
  {
    Error_Handler();
  }
  sClockSourceConfig.ClockSource = TIM_CLOCKSOURCE_INTERNAL;
  if (HAL_TIM_ConfigClockSource(&htim8, &sClockSourceConfig) != HAL_OK)
  {
    Error_Handler();
  }
  if (HAL_TIM_PWM_Init(&htim8) != HAL_OK)
  {
    Error_Handler();
  }
  sMasterConfig.MasterOutputTrigger = TIM_TRGO_RESET;
  sMasterConfig.MasterSlaveMode = TIM_MASTERSLAVEMODE_DISABLE;
  if (HAL_TIMEx_MasterConfigSynchronization(&htim8, &sMasterConfig) != HAL_OK)
  {
    Error_Handler();
  }
  sConfigOC.OCMode = TIM_OCMODE_PWM1;
  sConfigOC.Pulse = 0;
  sConfigOC.OCPolarity = TIM_OCPOLARITY_HIGH;
  sConfigOC.OCNPolarity = TIM_OCNPOLARITY_HIGH;
  sConfigOC.OCFastMode = TIM_OCFAST_DISABLE;
  sConfigOC.OCIdleState = TIM_OCIDLESTATE_RESET;
  sConfigOC.OCNIdleState = TIM_OCNIDLESTATE_RESET;
  if (HAL_TIM_PWM_ConfigChannel(&htim8, &sConfigOC, TIM_CHANNEL_3) != HAL_OK)
  {
    Error_Handler();
  }
  if (HAL_TIM_PWM_ConfigChannel(&htim8, &sConfigOC, TIM_CHANNEL_4) != HAL_OK)
  {
    Error_Handler();
  }
  sBreakDeadTimeConfig.OffStateRunMode = TIM_OSSR_DISABLE;
  sBreakDeadTimeConfig.OffStateIDLEMode = TIM_OSSI_DISABLE;
  sBreakDeadTimeConfig.LockLevel = TIM_LOCKLEVEL_OFF;
  sBreakDeadTimeConfig.DeadTime = 0;
  sBreakDeadTimeConfig.BreakState = TIM_BREAK_DISABLE;
  sBreakDeadTimeConfig.BreakPolarity = TIM_BREAKPOLARITY_HIGH;
  sBreakDeadTimeConfig.AutomaticOutput = TIM_AUTOMATICOUTPUT_DISABLE;
  if (HAL_TIMEx_ConfigBreakDeadTime(&htim8, &sBreakDeadTimeConfig) != HAL_OK)
  {
    Error_Handler();
  }
  HAL_TIM_MspPostInit(&htim8);

}

static void MX_TIM13_Init(void)
{

  htim13.Instance = TIM13;
  htim13.Init.Prescaler = 45;
  htim13.Init.CounterMode = TIM_COUNTERMODE_UP;
  htim13.Init.Period = 1000;
  htim13.Init.ClockDivision = TIM_CLOCKDIVISION_DIV1;
  htim13.Init.AutoReloadPreload = TIM_AUTORELOAD_PRELOAD_DISABLE;
  if (HAL_TIM_Base_Init(&htim13) != HAL_OK)
  {
    Error_Handler();
  }

}

static void MX_USART1_UART_Init(void)
{

  huart1.Instance = USART1;
  huart1.Init.BaudRate = 115200;
  huart1.Init.WordLength = UART_WORDLENGTH_8B;
  huart1.Init.StopBits = UART_STOPBITS_1;
  huart1.Init.Parity = UART_PARITY_NONE;
  huart1.Init.Mode = UART_MODE_TX_RX;
  huart1.Init.HwFlowCtl = UART_HWCONTROL_NONE;
  huart1.Init.OverSampling = UART_OVERSAMPLING_16;
  if (HAL_UART_Init(&huart1) != HAL_OK)
  {
    Error_Handler();
  }

}

static void MX_DMA_Init(void)
{

  /* DMA controller clock enable */
  __HAL_RCC_DMA2_CLK_ENABLE();

  /* DMA interrupt init */
  /* DMA2_Stream0_IRQn interrupt configuration */
  HAL_NVIC_SetPriority(DMA2_Stream0_IRQn, 2, 0);
  HAL_NVIC_EnableIRQ(DMA2_Stream0_IRQn);

}

static void MX_GPIO_Init(void)
{
  GPIO_InitTypeDef GPIO_InitStruct = {0};

  /* GPIO Ports Clock Enable */
  __HAL_RCC_GPIOC_CLK_ENABLE();
  __HAL_RCC_GPIOH_CLK_ENABLE();
  __HAL_RCC_GPIOA_CLK_ENABLE();
  __HAL_RCC_GPIOB_CLK_ENABLE();
  __HAL_RCC_GPIOD_CLK_ENABLE();

  /*Configure GPIO pin Output Level */
  HAL_GPIO_WritePin(GPIOC, PDN_Pin|WAKEUP_Pin|SENSOR_ON_Pin, GPIO_PIN_RESET);

  /*Configure GPIO pin Output Level */
  HAL_GPIO_WritePin(GPIOB, AIN1_Pin|AIN2_Pin|BIN1_Pin|BIN2_Pin
                          |STBY_TB_Pin|LED3_Pin|LED2_Pin, GPIO_PIN_RESET);

  /*Configure GPIO pin Output Level */
  HAL_GPIO_WritePin(LED4_GPIO_Port, LED4_Pin, GPIO_PIN_RESET);

  /*Configure GPIO pins : PDN_Pin WAKEUP_Pin SENSOR_ON_Pin */
  GPIO_InitStruct.Pin = PDN_Pin|WAKEUP_Pin|SENSOR_ON_Pin;
  GPIO_InitStruct.Mode = GPIO_MODE_OUTPUT_PP;
  GPIO_InitStruct.Pull = GPIO_NOPULL;
  GPIO_InitStruct.Speed = GPIO_SPEED_FREQ_LOW;
  HAL_GPIO_Init(GPIOC, &GPIO_InitStruct);

  /*Configure GPIO pins : AIN1_Pin AIN2_Pin BIN1_Pin BIN2_Pin
                           STBY_TB_Pin LED3_Pin LED2_Pin */
  GPIO_InitStruct.Pin = AIN1_Pin|AIN2_Pin|BIN1_Pin|BIN2_Pin
                          |STBY_TB_Pin|LED3_Pin|LED2_Pin;
  GPIO_InitStruct.Mode = GPIO_MODE_OUTPUT_PP;
  GPIO_InitStruct.Pull = GPIO_NOPULL;
  GPIO_InitStruct.Speed = GPIO_SPEED_FREQ_LOW;
  HAL_GPIO_Init(GPIOB, &GPIO_InitStruct);

  /*Configure GPIO pin : BUT2_Pin */
  GPIO_InitStruct.Pin = BUT2_Pin;
  GPIO_InitStruct.Mode = GPIO_MODE_INPUT;
  GPIO_InitStruct.Pull = GPIO_PULLDOWN;
  HAL_GPIO_Init(BUT2_GPIO_Port, &GPIO_InitStruct);

  /*Configure GPIO pin : BUT1_Pin */
  GPIO_InitStruct.Pin = BUT1_Pin;
  GPIO_InitStruct.Mode = GPIO_MODE_INPUT;
  GPIO_InitStruct.Pull = GPIO_PULLDOWN;
  HAL_GPIO_Init(BUT1_GPIO_Port, &GPIO_InitStruct);

  /*Configure GPIO pin : LED4_Pin */
  GPIO_InitStruct.Pin = LED4_Pin;
  GPIO_InitStruct.Mode = GPIO_MODE_OUTPUT_PP;
  GPIO_InitStruct.Pull = GPIO_NOPULL;
  GPIO_InitStruct.Speed = GPIO_SPEED_FREQ_LOW;
  HAL_GPIO_Init(LED4_GPIO_Port, &GPIO_InitStruct);

}

void Error_Handler(void)
{
  __disable_irq();
  while (1)
  {
  }
}
